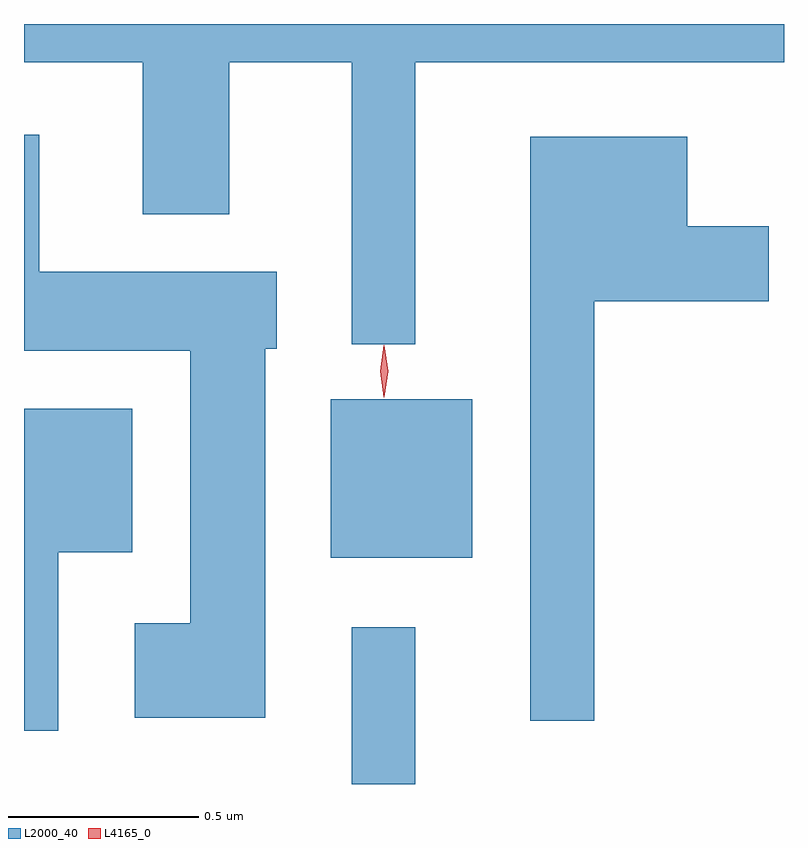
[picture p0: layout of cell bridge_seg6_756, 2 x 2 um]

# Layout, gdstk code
import gdstk
lib = gdstk.Library(unit=1e-6, precision=1e-09)
def R(c, l, rs):  # rectangles x0, y0, x1, y1
    for r in rs: c.add(gdstk.rectangle(r[:2], r[2:], *l))
def P(c, l, *ps):  # polygons
    for p in ps: c.add(gdstk.Polygon(p, *l))
L2000_40 = (2000, 40)
L4165_0 = (4165, 0)

bridge_seg6_756 = lib.new_cell('bridge_seg6_756')
R(bridge_seg6_756, L2000_40, [(436.241,1579.216,436.409,1579.628), (436.186,1579.811,436.559,1580.229)])
P(bridge_seg6_756, L2000_40, [(436.409,1581.116),(437.379,1581.116),(437.379,1581.216),(435.379,1581.216),(435.379,1581.116),(435.691,1581.116),(435.691,1580.716),(435.919,1580.716),(435.919,1581.116),(436.241,1581.116),(436.241,1580.373),(436.409,1580.373)],
  [(436.014,1580.361),(436.044,1580.361),(436.044,1580.564),(435.419,1580.564),(435.419,1580.924),(435.379,1580.924),(435.379,1580.356),(435.816,1580.356),(435.816,1579.639),(435.671,1579.639),(435.671,1579.391),(436.014,1579.391)],
  [(436.879,1580.486),(437.339,1580.486),(437.339,1580.684),(437.124,1580.684),(437.124,1580.919),(436.711,1580.919),(436.711,1579.383),(436.879,1579.383)],
  [(435.469,1579.826),(435.664,1579.826),(435.664,1580.204),(435.379,1580.204),(435.379,1579.356),(435.469,1579.356)])
P(bridge_seg6_756, L4165_0, [(436.326,1580.234),(436.317,1580.302),(436.326,1580.37),(436.327,1580.37),(436.327,1580.37),(436.337,1580.302),(436.327,1580.234),(436.327,1580.234)])

lib.write_gds('bridge_seg6_756.gds')
